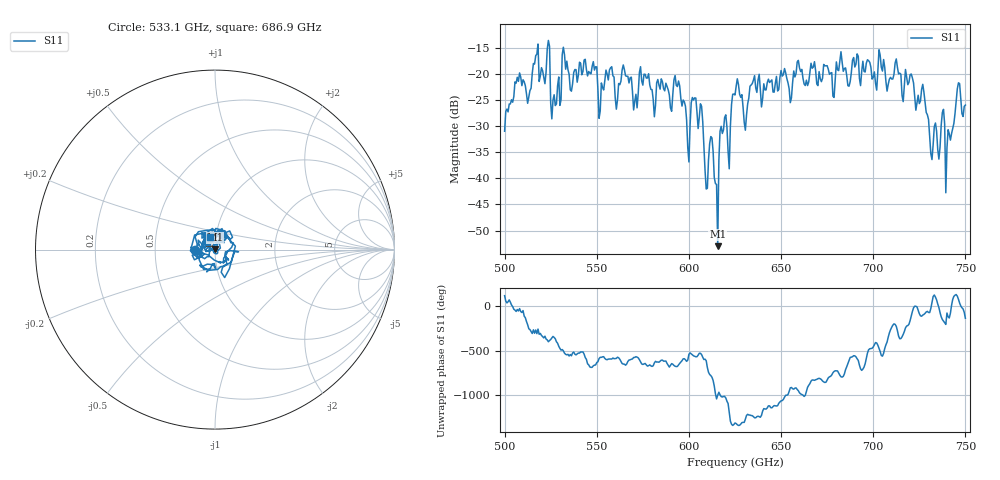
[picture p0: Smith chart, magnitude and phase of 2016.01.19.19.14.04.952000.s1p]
!Created with skrf (http://scikit-rf.org).
# GHz S RI R 50.0
!freq ReS11 ImS11
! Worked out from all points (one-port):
!   401 points, 500 GHz to 750 GHz, reference 50 ohm
!   lowest |S11| = -53.0 dB at 615.6 GHz (marker M1), VSWR 1.00, Z = 50 + j0.222 ohm
!   |S11| at or under -10 dB: start of sweep to end of sweep
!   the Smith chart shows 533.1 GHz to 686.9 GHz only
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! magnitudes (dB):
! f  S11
! 500 GHz  -30.9
! 513.1 GHz  -24.3
! 516.9 GHz  -16.4
! 523.1 GHz  -15.2
! 526.2 GHz  -25.0
! 531.2 GHz  -16.2
! 562.5 GHz  -22.0
! 593.8 GHz  -22.3
! 599.4 GHz  -34.1
! 602.5 GHz  -24.9
! 606.9 GHz  -26.1
! 609.4 GHz  -42.0
! 611.9 GHz  -32.0
! 615.6 GHz  -53.0
! 618.1 GHz  -31.4
! 621.9 GHz  -38.1
! 625 GHz  -24.0
! 630.6 GHz  -30.7
! 634.4 GHz  -21.8
! 656.2 GHz  -21.6
! 687.5 GHz  -21.4
! 718.8 GHz  -22.0
! 727.5 GHz  -23.4
! 731.9 GHz  -36.4
! 737.5 GHz  -27.3
! 740.6 GHz  -30.6
! 746.2 GHz  -21.6
! 750 GHz  -25.9
